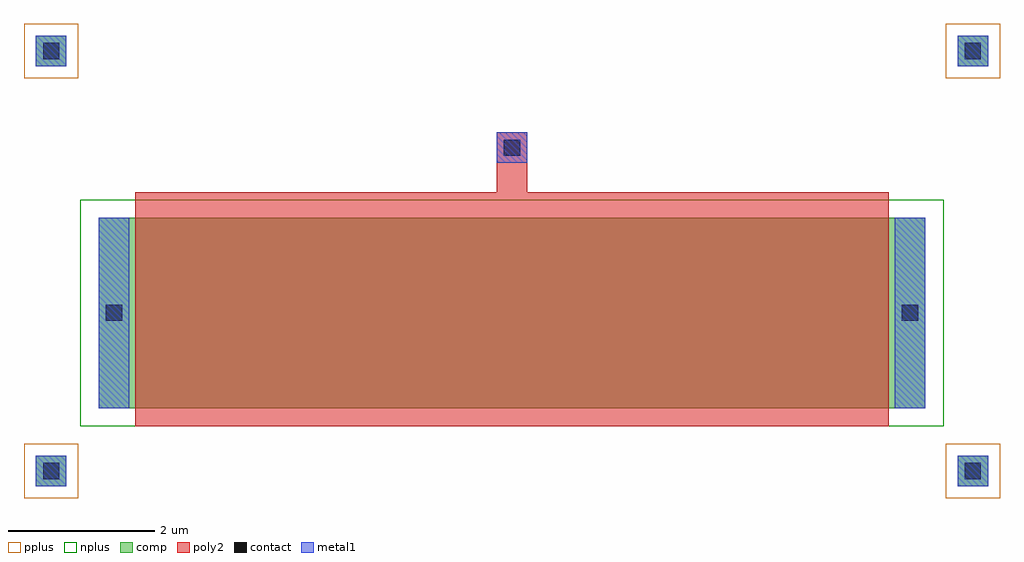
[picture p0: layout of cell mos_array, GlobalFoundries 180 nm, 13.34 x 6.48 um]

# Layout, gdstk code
import gdstk
lib = gdstk.Library(unit=1e-6, precision=5e-10)
def R(c, l, rs):  # rectangles x0, y0, x1, y1
    for r in rs: c.add(gdstk.rectangle(r[:2], r[2:], *l))
comp = (22, 0)
poly2 = (30, 0)
pplus = (31, 0)
nplus = (32, 0)
contact = (33, 0)
metal1 = (34, 0)

mos_array = lib.new_cell('mos_array')
R(mos_array, comp, [(-0.86,-1.07,-0.44,-0.65), (11.74,-1.07,12.16,-0.65), (0,0,11.3,2.6), (-0.86,4.67,-0.44,5.09), (11.74,4.67,12.16,5.09)])
R(mos_array, poly2, [(0.5,-0.25,10.8,2.6), (0.5,2.6,10.8,2.95), (5.44,2.95,5.86,3.77)])
R(mos_array, pplus, [(-1.02,-1.23,-0.28,-0.49), (11.58,-1.23,12.32,-0.49), (-1.02,4.51,-0.28,5.25), (11.58,4.51,12.32,5.25)])
R(mos_array, nplus, [(-0.25,-0.25,11.55,2.85)])
R(mos_array, contact, [(-0.76,-0.97,-0.54,-0.75), (11.84,-0.97,12.06,-0.75), (0.1,1.19,0.32,1.41), (10.98,1.19,11.2,1.41), (5.54,3.45,5.76,3.67), (-0.76,4.77,-0.54,4.99), (11.84,4.77,12.06,4.99)])
R(mos_array, metal1, [(-0.86,-1.07,-0.44,-0.65), (11.74,-1.07,12.16,-0.65), (0,0,0.42,2.6), (10.88,0,11.3,2.6), (5.44,3.35,5.86,3.77), (-0.86,4.67,-0.44,5.09), (11.74,4.67,12.16,5.09)])

lib.write_gds('mos_array.gds')
